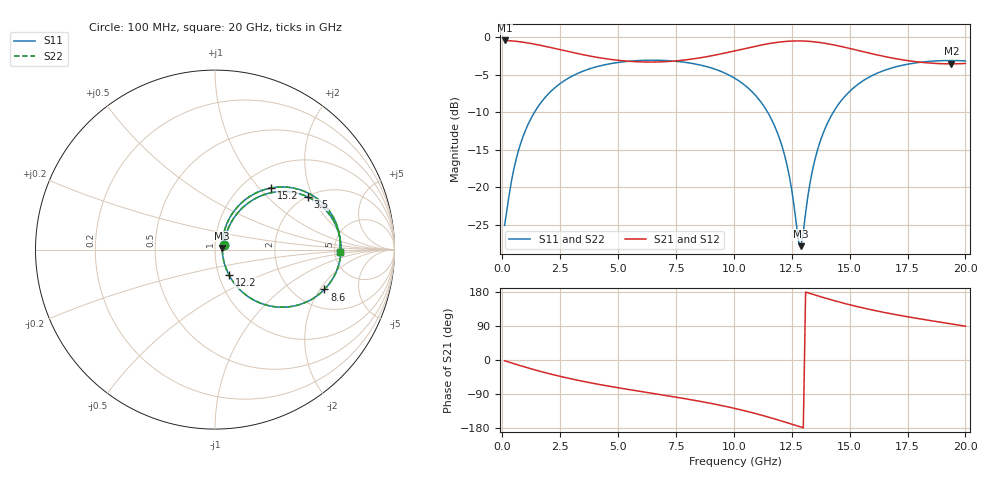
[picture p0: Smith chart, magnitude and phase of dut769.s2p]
! Touchstone file exported from HFSS 2026.1.0
!  File:  C:/ffzhzh/LocalFiles/Ansys_Project_Files/temp_train_TSV_RDL_769_1783208701_55132.aedt
!  Generated:  07:57:18 AM Jul  5, 2026
!  Design:  TSV_RDL
!  Project:  temp_train_TSV_RDL_769_1783208701_55132
! Variables:
!  h_bsmrdl = 2.47um
!  h_ox = 20um
!  h_rdl = 5um
!  h_sub = 65.83um
!  h_tmrdl = 2.27um
!  h_tsv = 65.83um
!  h_via = 3um
!  l_bsmrdl = 311.45um
!  l_sub = 4701.53um
!  l_tmrdl = 821.38um
!  m_sub = 200um
!  pitch = 54.61um
!  r_tsv = 6.98um
!  s_tmrdl = 10um
!  w_bsmrdl = 15.14um
!  w_sub = 500um
!  w_tmrdl = 12.08um
!  x_tsv_center1 = 827.42um
!  x_tsv_center2 = 1154.01um
!  x_tsv_center3 = 1987.47um
!  x_tsv_center4 = 2314.06um
!  x_tsv_center5 = 3147.52um
!  x_tsv_center6 = 3474.11um
# GHz S MA R 50.000000
! Terminal data exported
! Port[1] = TM_RDL1_1_T1
! Port[2] = TM_RDL5_1_T1
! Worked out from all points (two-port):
!   200 points, 100 MHz to 20 GHz, reference 50 ohm
!   highest |S21| = -0.45 dB at 100 MHz (marker M1); lowest = -3.6 dB at 19.4 GHz (marker M2)
!   |S21| within 3 dB of the highest: start of sweep to 18.42 GHz
!   lowest |S11| = -27.8 dB at 12.9 GHz (marker M3), VSWR 1.08, Z = 54.1 + j0.907 ohm
!   |S11| at or under -10 dB: start of sweep to 1.391 GHz; 11.46 GHz to 14.3 GHz (2.837 GHz wide, 22 % of centre)
!   |S22| runs from -27.8 to -3.1 dB; largest |S21 - S12| = 1.7e-14
!   S11 on the Smith chart (normalised r, x): 100 MHz: 1.11, +0.05; 3.5 GHz: 2.02, +1.84; 8.6 GHz: 2.88, -2.20; 12.2 GHz: 1.12, -0.33; 15.2 GHz: 1.33, +1.16; 20 GHz: 5.52, -0.29
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0.1  0.05577 24.6  0.9498 -2.0  0.9498 -2.0  0.05577 24.6
! Gamma 0 0 0 0
! Port Impedance 50 0 50 0
0.6  0.1543 58.7  0.9375 -11.6  0.9375 -11.6  0.1543 58.7
1.2  0.2796 56.6  0.9088 -22.5  0.9088 -22.5  0.2796 56.6
2.2  0.4502 44.9  0.8447 -38.8  0.8447 -38.8  0.4502 45.0
3.5  0.5944 29.6  0.7628 -56.5  0.7628 -56.5  0.5944 29.6
5.1  0.6812 13.3  0.6982 -74.3  0.6982 -74.3  0.6812 13.3
6.8  0.7008 -2.5  0.6838 -91.1  0.6838 -91.1  0.7008 -2.5
8.6  0.6491 -20.0  0.7301 -109.8  0.7301 -109.8  0.6491 -20.0
10.1  0.5254 -37.3  0.814 -128.6  0.814 -128.6  0.5254 -37.2
11.4  0.3275 -54.4  0.8988 -149.1  0.8988 -149.1  0.3275 -54.3
12.2  0.1618 -61.2  0.9347 -163.6  0.9347 -163.6  0.1619 -61.0
12.5  0.09615 -56.4  0.9412 -169.3  0.9412 -169.3  0.09624 -56.2
12.8  0.04321 -19.0  0.9431 -175.0  0.9431 -175.0  0.04349 -18.8
12.9  0.04059 11.9  0.9427 -177.0  0.9427 -177.0  0.04092 11.9
13.4  0.1308 64.5  0.9328 173.5  0.9328 173.5  0.1309 64.4
13.7  0.1959 65.2  0.9212 167.9  0.9212 167.9  0.196 65.1
14.1  0.2786 61.7  0.9003 160.7  0.9003 160.7  0.2787 61.6
15.2  0.4637 47.7  0.8266 142.8  0.8266 142.8  0.4637 47.7
16.7  0.6152 30.0  0.7325 123.0  0.7325 123.0  0.6152 30.0
18  0.6783 17.0  0.6818 108.9  0.6818 108.9  0.6783 17.0
19.4  0.6985 4.3  0.6639 95.1  0.6639 95.1  0.6985 4.2
20  0.6942 -1.1  0.6678 89.3  0.6678 89.3  0.6943 -1.1
